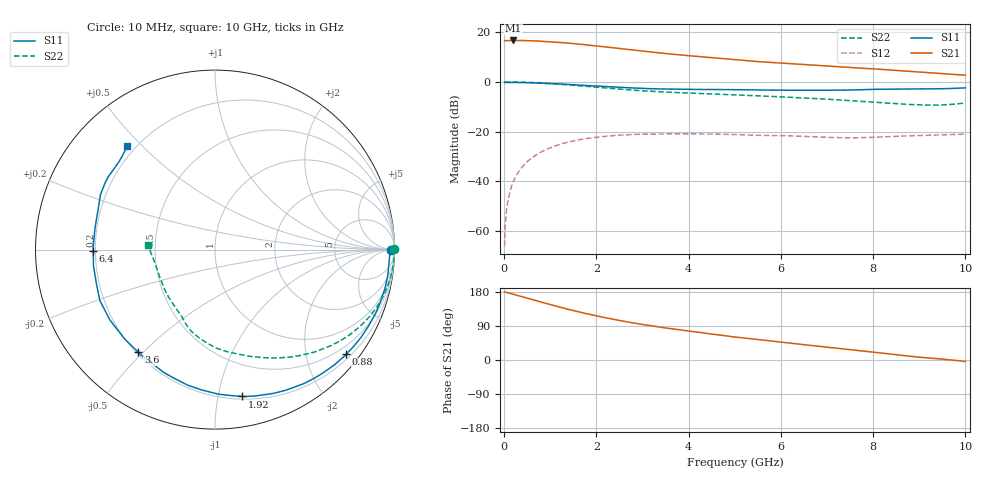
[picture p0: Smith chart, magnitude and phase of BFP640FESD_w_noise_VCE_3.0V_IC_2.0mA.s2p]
! Infineon Technologies  Discrete & RF Semiconductors
! BFP640FESD
! VCE =  3.0 V,  IC =  2.0 mA
! Common Emitter S-Parameters:  Jan 2016
# GHz  S  MA  R  50
!  f  S11  S21  S12  S22
! GHz  MAG  ANG  MAG  ANG  MAG  ANG  MAG  ANG
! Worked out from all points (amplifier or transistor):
!   233 points, 10 MHz to 10 GHz, reference 50 ohm
!   highest |S21| = 16.6 dB at 200 MHz (marker M1)
!   |S21| within 3 dB of that: start of sweep to 2.404 GHz
!   unconditionally stable (mu >= 1): 6.596 GHz to end of sweep
!   at 200 MHz: K = 0.00, MSG = 28.3 dB, |S12| = -39.9 dB
!   at 1.74 GHz: K = 0.14, MSG = 18.9 dB, |S12| = -22.9 dB
!   at 10 GHz: K = 1.45, MAG = 7.9 dB, |S12| = -21.0 dB
!   lowest NFmin = 0.44 dB at 450 MHz
!   S11 on the Smith chart (normalised r, x): 10 MHz: 92, -7; 880 MHz: 0.31, -2.83; 1.92 GHz: 0.22, -1.18; 3.6 GHz: 0.21, -0.48; 6.4 GHz: 0.19, -0.00; 10 GHz: 0.17, +0.45
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0.01  0.9787 -0.1  6.742 179.5  0.0005 49.6  0.9961 0.2
0.02  0.9753 -0.9  6.706 179.5  0.0012 88.9  0.9989 -0.6
0.06  0.9725 -2.7  6.72 178.0  0.0031 85.1  0.9988 -1.6
0.13  0.9723 -5.8  6.772 175.9  0.0065 86.1  0.9981 -3.4
0.2  0.9733 -8.9  6.792 173.6  0.0101 84.6  0.9965 -5.2
0.5  0.9617 -22.2  6.74 163.1  0.0249 76.9  0.9805 -13.0
0.7  0.9495 -30.9  6.644 156.4  0.0344 71.5  0.963 -18.0
0.88  0.9347 -38.6  6.506 150.3  0.0423 66.7  0.9429 -22.5
1.28  0.898 -55.4  6.129 137.2  0.0582 56.6  0.8888 -32.1
1.68  0.8552 -71.0  5.671 125.2  0.0702 47.3  0.8283 -41.0
1.92  0.8321 -79.4  5.372 118.7  0.0758 42.4  0.7937 -46.1
2.22  0.8035 -89.3  5.014 110.9  0.0811 36.8  0.7524 -51.9
2.66  0.7649 -102.9  4.513 100.8  0.0867 29.4  0.6971 -59.9
3  0.7417 -112.6  4.165 93.6  0.0889 24.5  0.6619 -65.5
3.4  0.72 -122.2  3.792 86.5  0.0897 20.0  0.6312 -70.8
3.6  0.7138 -126.8  3.634 83.0  0.09 18.1  0.6185 -73.2
4.5  0.7048 -146.4  3.07 68.4  0.0897 11.2  0.5717 -83.5
5.1  0.6975 -157.8  2.742 59.4  0.087 7.6  0.543 -90.4
6.4  0.6782 -179.5  2.265 41.8  0.0811 4.6  0.4796 -104.7
6.8  0.6771 173.6  2.14 36.5  0.0784 4.9  0.459 -108.8
8.4  0.7169 148.5  1.726 15.3  0.08 13.0  0.3698 -134.5
10  0.7565 130.3  1.364 -3.8  0.089 14.6  0.3763 175.7
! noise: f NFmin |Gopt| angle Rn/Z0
0.45  0.44  0.76  9  0.24
2.4  0.82  0.46  59  0.2
5.5  1.23  0.53  146  0.09
10  2.5  0.6  -127  0.33
